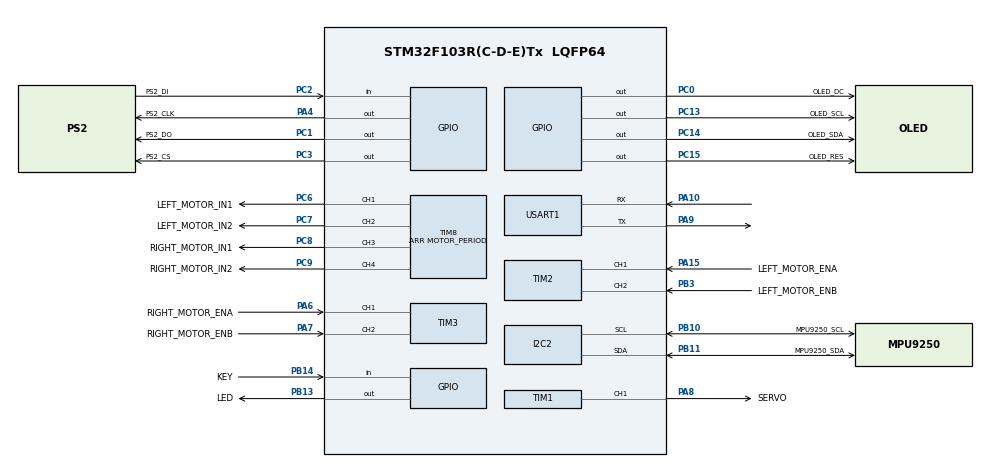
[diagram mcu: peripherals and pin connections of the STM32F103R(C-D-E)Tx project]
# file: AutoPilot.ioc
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Mcu.Family=STM32F1
Mcu.Name=STM32F103R(C-D-E)Tx
Mcu.Package=LQFP64
Mcu.UserConstants=SERVO_PERIOD,10000-1;SERVO_PRESCALER,72-1;MOTOR_PERIOD,7200-1;MOTOR_PRESCALER,1-1;ENCODER_PERIOD,65536-1;ENCODER_PRESCALER,1-1;TIM6_PERIOD,100-1;TIM6_PRESCALER,7200-1
NVIC.PriorityGroup=NVIC_PRIORITYGROUP_2
NVIC.TIM6_IRQn=true\:0\:1\:false\:false\:true\:true\:true
NVIC.USART1_IRQn=true\:0\:1\:false\:false\:true\:true\:true
PA10.Mode=Asynchronous
PA10.Signal=USART1_RX
PA13.Mode=Serial_Wire
PA13.Signal=SYS_JTMS-SWDIO
PA14.Mode=Serial_Wire
PA14.Signal=SYS_JTCK-SWCLK
PA15.GPIO_Label=LEFT_MOTOR_ENA
PA15.Signal=S_TIM2_CH1_ETR
PA4.GPIO_Label=PS2_CLK
PA4.GPIO_Speed=GPIO_SPEED_FREQ_HIGH
PA4.Signal=GPIO_Output
PA6.GPIO_Label=RIGHT_MOTOR_ENA
PA6.Signal=S_TIM3_CH1
PA7.GPIO_Label=RIGHT_MOTOR_ENB
PA7.Signal=S_TIM3_CH2
PA8.GPIO_Label=SERVO
PA8.GPIO_Speed=GPIO_SPEED_FREQ_HIGH
PA8.Signal=S_TIM1_CH1
PA9.Mode=Asynchronous
PA9.Signal=USART1_TX
PB10.GPIO_Label=MPU9250_SCL
PB10.Mode=I2C
PB10.Signal=I2C2_SCL
PB11.GPIO_Label=MPU9250_SDA
PB11.Mode=I2C
PB11.Signal=I2C2_SDA
PB13.GPIO_Label=LED
PB13.GPIO_Speed=GPIO_SPEED_FREQ_HIGH
PB13.PinState=GPIO_PIN_RESET
PB13.Signal=GPIO_Output
PB14.GPIO_Label=KEY
PB14.GPIO_PuPd=GPIO_PULLUP
PB14.Signal=GPIO_Input
PB3.GPIO_Label=LEFT_MOTOR_ENB
PB3.Signal=S_TIM2_CH2
PC0.GPIO_Label=OLED_DC
PC0.Signal=GPIO_Output
PC1.GPIO_Label=PS2_DO
PC1.GPIO_Speed=GPIO_SPEED_FREQ_HIGH
PC1.Signal=GPIO_Output
PC13-TAMPER-RTC.GPIO_Label=OLED_SCL
PC13-TAMPER-RTC.Signal=GPIO_Output
PC14-OSC32_IN.GPIO_Label=OLED_SDA
PC14-OSC32_IN.Signal=GPIO_Output
PC15-OSC32_OUT.GPIO_Label=OLED_RES
PC15-OSC32_OUT.Signal=GPIO_Output
PC2.GPIO_Label=PS2_DI
PC2.GPIO_PuPd=GPIO_PULLUP
PC2.Signal=GPIO_Input
PC3.GPIO_Label=PS2_CS
PC3.GPIO_Speed=GPIO_SPEED_FREQ_HIGH
PC3.Signal=GPIO_Output
PC6.GPIO_Label=LEFT_MOTOR_IN1
PC6.GPIO_Speed=GPIO_SPEED_FREQ_HIGH
PC6.Signal=S_TIM8_CH1
PC7.GPIO_Label=LEFT_MOTOR_IN2
PC7.GPIO_Speed=GPIO_SPEED_FREQ_HIGH
PC7.Signal=S_TIM8_CH2
PC8.GPIO_Label=RIGHT_MOTOR_IN1
PC8.GPIO_Speed=GPIO_SPEED_FREQ_HIGH
PC8.Signal=S_TIM8_CH3
PC9.GPIO_Label=RIGHT_MOTOR_IN2
PC9.GPIO_Speed=GPIO_SPEED_FREQ_HIGH
PC9.Signal=S_TIM8_CH4
PD0-OSC_IN.Mode=HSE-External-Oscillator
PD0-OSC_IN.Signal=RCC_OSC_IN
PD1-OSC_OUT.Mode=HSE-External-Oscillator
PD1-OSC_OUT.Signal=RCC_OSC_OUT
ProjectManager.HeapSize=0x200
ProjectManager.StackSize=0x400
ProjectManager.TargetToolchain=MDK-ARM V5.27
RCC.AHBFreq_Value=72000000
RCC.APB1CLKDivider=RCC_HCLK_DIV2
RCC.APB1Freq_Value=36000000
RCC.APB1TimFreq_Value=72000000
RCC.APB2Freq_Value=72000000
RCC.APB2TimFreq_Value=72000000
RCC.HCLKFreq_Value=72000000
RCC.PLLMUL=RCC_PLL_MUL9
RCC.PLLSourceVirtual=RCC_PLLSOURCE_HSE
RCC.SYSCLKFreq_VALUE=72000000
RCC.SYSCLKSource=RCC_SYSCLKSOURCE_PLLCLK
RCC.USBFreq_Value=72000000
SH.S_TIM1_CH1.0=TIM1_CH1,PWM Generation1 CH1
SH.S_TIM2_CH1_ETR.0=TIM2_CH1,Encoder_Interface
SH.S_TIM2_CH2.0=TIM2_CH2,Encoder_Interface
SH.S_TIM3_CH1.0=TIM3_CH1,Encoder_Interface
SH.S_TIM3_CH2.0=TIM3_CH2,Encoder_Interface
SH.S_TIM8_CH1.0=TIM8_CH1,PWM Generation1 CH1
SH.S_TIM8_CH2.0=TIM8_CH2,PWM Generation2 CH2
SH.S_TIM8_CH3.0=TIM8_CH3,PWM Generation3 CH3
SH.S_TIM8_CH4.0=TIM8_CH4,PWM Generation4 CH4
TIM1.AutoReloadPreload=TIM_AUTORELOAD_PRELOAD_ENABLE
TIM1.Channel-PWM\ Generation1\ CH1=TIM_CHANNEL_1
TIM1.Period=SERVO_PERIOD
TIM1.Prescaler=SERVO_PRESCALER
TIM2.EncoderMode=TIM_ENCODERMODE_TI12
TIM2.IC1Filter=10
TIM2.Period=ENCODER_PERIOD
TIM2.Prescaler=ENCODER_PRESCALER
TIM3.AutoReloadPreload=TIM_AUTORELOAD_PRELOAD_DISABLE
TIM3.EncoderMode=TIM_ENCODERMODE_TI12
TIM3.IC1Filter=10
TIM3.IC2Filter=0
TIM3.Period=ENCODER_PERIOD
TIM3.Prescaler=ENCODER_PRESCALER
TIM6.Period=TIM6_PERIOD
TIM6.Prescaler=TIM6_PRESCALER
TIM8.AutoReloadPreload=TIM_AUTORELOAD_PRELOAD_ENABLE
TIM8.Channel-PWM\ Generation1\ CH1=TIM_CHANNEL_1
TIM8.Channel-PWM\ Generation2\ CH2=TIM_CHANNEL_2
TIM8.Channel-PWM\ Generation3\ CH3=TIM_CHANNEL_3
TIM8.Channel-PWM\ Generation4\ CH4=TIM_CHANNEL_4
TIM8.Period=MOTOR_PERIOD
TIM8.Prescaler=MOTOR_PRESCALER
USART1.VirtualMode=VM_ASYNC
VP_TIM6_VS_ClockSourceINT.Mode=Enable_Timer
board=custom

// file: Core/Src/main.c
/* USER CODE BEGIN Header */
/**
  ******************************************************************************
  * @file           : main.c
  * @brief          : Main program body
  ******************************************************************************
  * @attention
  *
  * <h2><center>&copy; Copyright (c) 2021 STMicroelectronics.
  * All rights reserved.</center></h2>
  *
  * This software component is licensed by ST under BSD 3-Clause license,
  * the "License"; You may not use this file except in compliance with the
  * License. You may obtain a copy of the License at:
  *                        opensource.org/licenses/BSD-3-Clause
  *
  ******************************************************************************
  */
/* USER CODE END Header */
#include "main.h"
#include "i2c.h"
#include "tim.h"
#include "usart.h"
#include "gpio.h"

/* USER CODE BEGIN PV */
uint8_t Flag_Left, Flag_Right, Flag_Direction = 0, Flag_Way,
                               Flag_Next;
uint8_t operationMode;
uint8_t Flag_Stop = 1, Flag_Show;
int Encoder_Left, Encoder_Right;
long int Motor_Left, Motor_Right;
long int Target_Left, Target_Right;
float Velocity, Angle, Servo;
uint8_t delay_50, delay_flag;
float Velocity_KP = 62, Velocity_KI = 62;
int PS2_LX, PS2_LY, PS2_RX, PS2_RY, PS2_KEY, lastPS3Key, Accel_Key;
int Remoter_Ch1, Remoter_Ch2, Remoter_Ch3, Remoter_Ch4;
float Tand;

uint8_t rxbuf[8], Urxbuf[8], CAN_ON_Flag, Usart_ON_Flag, Usart_Flag, PID_Send;
int RC_Velocity;

int Distance_A, Distance_B, Distance_C, Distance_D;
short gyroX, gyroY, gyroZ;
short accelX, accelY, accelZ;
short magX, magY, magZ;

int Voltage;

uint8_t testint;

/* USER CODE END PV */

void SystemClock_Config(void);

int main(void)
{

  /* MCU Configuration--------------------------------------------------------*/

  /* Reset of all peripherals, Initializes the Flash interface and the Systick. */

  LL_APB2_GRP1_EnableClock(LL_APB2_GRP1_PERIPH_AFIO);
  LL_APB1_GRP1_EnableClock(LL_APB1_GRP1_PERIPH_PWR);

  NVIC_SetPriorityGrouping(NVIC_PRIORITYGROUP_2);

  /* System interrupt init*/

  /** NOJTAG: JTAG-DP Disabled and SW-DP Enabled
  */
  LL_GPIO_AF_Remap_SWJ_NOJTAG();

  /* Configure the system clock */
  SystemClock_Config();

  /* Initialize all configured peripherals */
  MX_GPIO_Init();
  MX_TIM1_Init();
  MX_TIM8_Init();
  MX_TIM2_Init();
  MX_TIM3_Init();
  MX_TIM6_Init();
  MX_USART1_UART_Init();
  MX_I2C2_Init();
  /* USER CODE BEGIN 2 */

  delay_init();

  OLED_Init();
  MPU9250_Init();

  Flag_Way = 1;
  Flag_Show = 0;
  Flag_Stop = 1;

  delay_ms(500);

  PS2_SetInit();

  Target_Left = 0;
  Target_Right = 0;

  LL_TIM_EnableCounter(TIM6);
  LL_TIM_EnableIT_UPDATE(TIM6);

  Accel_Key = 4;

  /* USER CODE END 2 */

  /* Infinite loop */
  /* USER CODE BEGIN WHILE */
  while (1)
  {
#if 0
    PS2_KEY = PS2_DataKey();

    PS2_LX = PS2_AnologData(PSS_LX);
    PS2_LY = PS2_AnologData(PSS_LY);
    PS2_RX = PS2_AnologData(PSS_RX);
    PS2_RY = PS2_AnologData(PSS_RY);

#endif
    oled_show();
    Send_Signal();
    // testint = I2C_Read_Reg(GYRO_ADDRESS, SMPLRT_DIV);
    // printf("%x  ", testint);
    // I2C_Write_Reg(GYRO_ADDRESS, SMPLRT_DIV, 0x09); //采样频率 125Hz
    // testint = I2C_Read_Reg(GYRO_ADDRESS, SMPLRT_DIV);
    // printf("%x  \n", testint);
    delay_flag = 1;
    readImu();
    // printf("%d %d %d %d %d %d %d %d %d\n", gyroX, gyroY, gyroZ, accelX, accelY, accelZ, magX, magY, magZ);

    delay_50 = 0;
    while (delay_flag)
      ;

    /* USER CODE END WHILE */

  }
}

void SystemClock_Config(void)
{
  LL_FLASH_SetLatency(LL_FLASH_LATENCY_2);
  while(LL_FLASH_GetLatency()!= LL_FLASH_LATENCY_2)
  {
  }
  LL_RCC_HSE_Enable();

   /* Wait till HSE is ready */
  while(LL_RCC_HSE_IsReady() != 1)
  {

  }
  LL_RCC_PLL_ConfigDomain_SYS(LL_RCC_PLLSOURCE_HSE_DIV_1, LL_RCC_PLL_MUL_9);
  LL_RCC_PLL_Enable();

   /* Wait till PLL is ready */
  while(LL_RCC_PLL_IsReady() != 1)
  {

  }
  LL_RCC_SetAHBPrescaler(LL_RCC_SYSCLK_DIV_1);
  LL_RCC_SetAPB1Prescaler(LL_RCC_APB1_DIV_2);
  LL_RCC_SetAPB2Prescaler(LL_RCC_APB2_DIV_1);
  LL_RCC_SetSysClkSource(LL_RCC_SYS_CLKSOURCE_PLL);

   /* Wait till System clock is ready */
  while(LL_RCC_GetSysClkSource() != LL_RCC_SYS_CLKSOURCE_STATUS_PLL)
  {

  }
  LL_Init1msTick(72000000);
  LL_SetSystemCoreClock(72000000);
}

void Error_Handler(void)
{
  __disable_irq();
  while (1)
  {
  }
}

/************************ (C) COPYRIGHT STMicroelectronics *****END OF FILE****/
